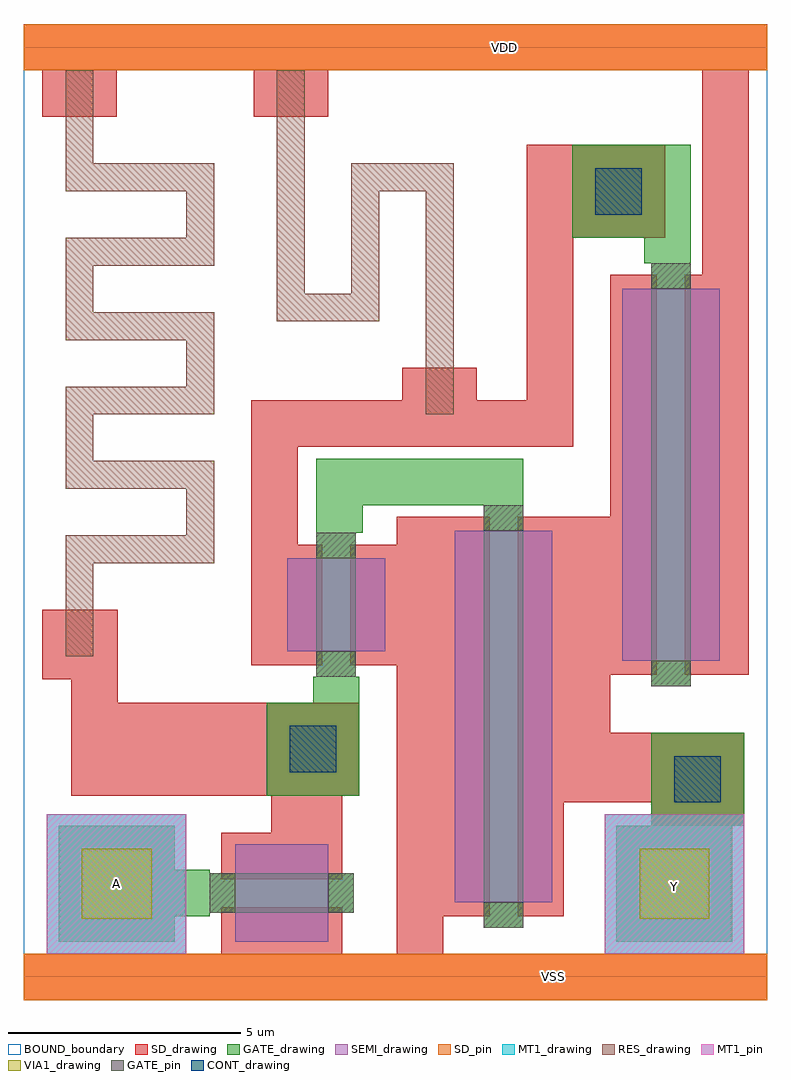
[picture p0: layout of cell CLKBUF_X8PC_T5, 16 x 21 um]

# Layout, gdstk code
from math import pi, radians
import gdstk
lib = gdstk.Library(unit=1e-6, precision=1e-09)
def R(c, l, rs):  # rectangles x0, y0, x1, y1
    for r in rs: c.add(gdstk.rectangle(r[:2], r[2:], *l))
def A(c, l, x, y, w, h, nx, ny, dx, dy):  # array of equal rectangles
    R(c, l, [(x+i*dx, y+j*dy, x+i*dx+w, y+j*dy+h) for i in range(nx) for j in range(ny)])
RES_drawing = (1, 0)
SEMI_drawing = (3, 0)
SD_drawing = (10, 0)
SD_pin = (10, 3)
GATE_drawing = (11, 0)
GATE_pin = (11, 3)
MT1_drawing = (20, 0)
MT1_pin = (20, 3)
CONT_drawing = (30, 0)
VIA1_drawing = (41, 0)
BOUND_boundary = (150, 5)

nch_cdns_772544872960 = lib.new_cell('nch_CDNS_772544872960')
R(nch_cdns_772544872960, SEMI_drawing, [(-1.05,-4,1.05,4)])
R(nch_cdns_772544872960, SD_drawing, [(-1.3,-4.3,-0.3,4.3), (0.3,-4.3,1.3,4.3)])
R(nch_cdns_772544872960, GATE_drawing, [(-0.425,-4.55,0.425,4.55)])
R(nch_cdns_772544872960, GATE_pin, [(-0.425,-4.55,0.425,-4), (-0.425,4,0.425,4.55)])

nch_cdns_772544872961 = lib.new_cell('nch_CDNS_772544872961')
R(nch_cdns_772544872961, SEMI_drawing, [(-1.05,-4,1.05,4)])
R(nch_cdns_772544872961, SD_drawing, [(-1.3,-4.3,-0.3,4.3), (0.3,-4.3,1.3,4.3)])
R(nch_cdns_772544872961, GATE_drawing, [(-0.425,-4.55,0.425,4.55)])
R(nch_cdns_772544872961, GATE_pin, [(-0.425,-4.55,0.425,-4), (-0.425,4,0.425,4.55)])

nch_cdns_772544872962 = lib.new_cell('nch_CDNS_772544872962')
R(nch_cdns_772544872962, SEMI_drawing, [(-1.05,-1,1.05,1)])
R(nch_cdns_772544872962, SD_drawing, [(-1.3,-1.3,-0.3,1.3), (0.3,-1.3,1.3,1.3)])
R(nch_cdns_772544872962, GATE_drawing, [(-0.425,-1.55,0.425,1.55)])
R(nch_cdns_772544872962, GATE_pin, [(-0.425,-1.55,0.425,-1), (-0.425,1,0.425,1.55)])

nch_cdns_772544872963 = lib.new_cell('nch_CDNS_772544872963')
R(nch_cdns_772544872963, SEMI_drawing, [(-1.05,-1,1.05,1)])
R(nch_cdns_772544872963, SD_drawing, [(-1.3,-1.3,-0.3,1.3), (0.3,-1.3,1.3,1.3)])
R(nch_cdns_772544872963, GATE_drawing, [(-0.425,-1.55,0.425,1.55)])
R(nch_cdns_772544872963, GATE_pin, [(-0.425,-1.55,0.425,-1), (-0.425,1,0.425,1.55)])

res_cdns_772544872964 = lib.new_cell('res_CDNS_772544872964')
A(res_cdns_772544872964, RES_drawing, -2.9, -4.3, 3.2, 0.6, 1, 6, 0, 1.6)
A(res_cdns_772544872964, RES_drawing, -2.9, -3.7, 0.6, 1, 1, 3, 0, 3.2)
R(res_cdns_772544872964, RES_drawing, [(-0.3,-6.3,0.3,-4.3), (-0.3,-2.1,0.3,-1.1), (-0.3,1.1,0.3,2.1), (-0.3,4.3,0.3,6.3)])
R(res_cdns_772544872964, SD_drawing, [(-0.8,-6.8,0.8,-5.3), (-0.8,5.3,0.8,6.8)])

res_cdns_772544872965 = lib.new_cell('res_CDNS_772544872965')
A(res_cdns_772544872965, RES_drawing, -1.9, -1.7, 0.6, 3.4, 3, 1, 1.6, 0)
R(res_cdns_772544872965, RES_drawing, [(1.3,-3.7,1.9,-1.7), (-1.3,-1.7,-0.3,-1.1), (0.3,1.1,1.3,1.7), (-1.9,1.7,-1.3,3.7)])
R(res_cdns_772544872965, SD_drawing, [(0.8,-4.2,2.4,-2.7), (-2.4,2.7,-0.8,4.2)])

gate_mt1_cdns_7725448729 = lib.new_cell('GATE_MT1_CDNS_772544872960')
R(gate_mt1_cdns_7725448729, GATE_drawing, [(-1.25,-1.25,1.25,1.25)])
R(gate_mt1_cdns_7725448729, MT1_drawing, [(-1.25,-1.25,1.25,1.25)])
R(gate_mt1_cdns_7725448729, VIA1_drawing, [(-0.75,-0.75,0.75,0.75)])

sd_gate_cdns_77254487296 = lib.new_cell('SD_GATE_CDNS_772544872961')
R(sd_gate_cdns_77254487296, SD_drawing, [(-1,-1,1,1)])
R(sd_gate_cdns_77254487296, GATE_drawing, [(-1,-1,1,1)])
R(sd_gate_cdns_77254487296, CONT_drawing, [(-0.5,-0.5,0.5,0.5)])

clkbuf_x8pc_t5 = lib.new_cell('CLKBUF_X8PC_T5')
R(clkbuf_x8pc_t5, SD_pin, [(0,-0.5,16,0.5), (0,19.5,16,20.5)])
R(clkbuf_x8pc_t5, MT1_drawing, [(0.5,0.5,3.5,3.5), (12.5,0.5,15.5,3.5)])
R(clkbuf_x8pc_t5, MT1_pin, [(0.5,0.5,3.5,3.5), (12.5,0.5,15.5,3.5)])
R(clkbuf_x8pc_t5, BOUND_boundary, [(0,0,16,20)])
clkbuf_x8pc_t5.add(gdstk.FlexPath([(14.1,2.55),(14.1,5)], 1, ends="flush", simple_path=True, layer=11, datatype=0))  # GATE_drawing
clkbuf_x8pc_t5.add(gdstk.FlexPath([(4,1.8),(3.275,1.8)], 1, ends=(0, 0.5), simple_path=True, layer=11, datatype=0))  # GATE_drawing
clkbuf_x8pc_t5.add(gdstk.FlexPath([(6.8,9.55),(6.8,10.65)], 1, ends=(0, 0.5), simple_path=True, layer=11, datatype=0))  # GATE_drawing
clkbuf_x8pc_t5.add(gdstk.FlexPath([(14.75,2.55),(14.75,5)], 1, ends="flush", simple_path=True, layer=11, datatype=0))  # GATE_drawing
clkbuf_x8pc_t5.add(gdstk.FlexPath([(13.85,17.9),(13.85,15.85)], 1, ends=(0, 0.5), simple_path=True, layer=11, datatype=0))  # GATE_drawing
clkbuf_x8pc_t5.add(gdstk.FlexPath([(6.8,10.65),(10.75,10.65)], 1, ends=(0.5, 0), simple_path=True, layer=11, datatype=0))  # GATE_drawing
clkbuf_x8pc_t5.add(gdstk.FlexPath([(6.725,5.225),(6.725,5.95)], 1, ends=(0, 0.5), simple_path=True, layer=11, datatype=0))  # GATE_drawing
clkbuf_x8pc_t5.add(gdstk.FlexPath([(15.1,20),(15.1,20.5)], 1, ends=(0.5, 0), simple_path=True, layer=10, datatype=0))  # SD_drawing
clkbuf_x8pc_t5.add(gdstk.FlexPath([(6.325,5.4),(1.525,5.4)], 1, ends="extended", simple_path=True, layer=10, datatype=0))  # SD_drawing
clkbuf_x8pc_t5.add(gdstk.FlexPath([(11.325,11.9),(11.825,11.9)], 1, ends=(0.5, 0), simple_path=True, layer=10, datatype=0))  # SD_drawing
clkbuf_x8pc_t5.add(gdstk.FlexPath([(15.1,20),(16,20)], 1, ends=(0.5, 0), simple_path=True, layer=10, datatype=0))  # SD_drawing
clkbuf_x8pc_t5.add(gdstk.FlexPath([(6.35,3.1),(6.35,3.825)], 1, ends=(0, 0.5), simple_path=True, layer=10, datatype=0))  # SD_drawing
clkbuf_x8pc_t5.add(gdstk.FlexPath([(5.4,11.9),(11.325,11.9)], 1, ends="extended", simple_path=True, layer=10, datatype=0))  # SD_drawing
clkbuf_x8pc_t5.add(gdstk.FlexPath([(5.4,6.7),(5.4,11.9)], 1, ends=(0, 0.5), simple_path=True, layer=10, datatype=0))  # SD_drawing
clkbuf_x8pc_t5.add(gdstk.FlexPath([(12.125,4.25),(14.5,4.25)], 1, ends=(0.5, 0), simple_path=True, layer=10, datatype=0))  # SD_drawing
clkbuf_x8pc_t5.add(gdstk.FlexPath([(11.325,17.4),(11.325,11.9)], 1, ends="extended", simple_path=True, layer=10, datatype=0))  # SD_drawing
clkbuf_x8pc_t5.add(gdstk.FlexPath([(12.125,9.9),(12.125,4.75)], 1, ends=(0, 0.5), simple_path=True, layer=10, datatype=0))  # SD_drawing
clkbuf_x8pc_t5.add(gdstk.FlexPath([(8.525,0),(16,0)], 1, ends=(0.5, 0), simple_path=True, layer=10, datatype=0))  # SD_drawing
clkbuf_x8pc_t5.add(gdstk.FlexPath([(12.125,4.75),(14.5,4.75)], 1, ends=(0.5, 0), simple_path=True, layer=10, datatype=0))  # SD_drawing
clkbuf_x8pc_t5.add(gdstk.FlexPath([(5.825,3.1),(5.825,3.825)], 1, ends=(0, 0.5), simple_path=True, layer=10, datatype=0))  # SD_drawing
clkbuf_x8pc_t5.add(gdstk.FlexPath([(15.1,6.5),(15.1,20)], 1, ends=(0, 0.5), simple_path=True, layer=10, datatype=0))  # SD_drawing
clkbuf_x8pc_t5.add(gdstk.FlexPath([(0,0),(8.525,0)], 1, ends=(0, 0.5), simple_path=True, layer=10, datatype=0))  # SD_drawing
clkbuf_x8pc_t5.add(gdstk.FlexPath([(6.325,4.9),(6.325,5.4)], 1, ends=(0, 0.5), simple_path=True, layer=10, datatype=0))  # SD_drawing
clkbuf_x8pc_t5.add(gdstk.FlexPath([(12.125,4.75),(12.125,4.25)], 1, ends="extended", simple_path=True, layer=10, datatype=0))  # SD_drawing
clkbuf_x8pc_t5.add(gdstk.FlexPath([(1.525,5.4),(1.525,7.4)], 1, ends="extended", simple_path=True, layer=10, datatype=0))  # SD_drawing
clkbuf_x8pc_t5.add(gdstk.FlexPath([(11.325,11.9),(11.325,11.4)], 1, ends=(0.5, 0), simple_path=True, layer=10, datatype=0))  # SD_drawing
clkbuf_x8pc_t5.add(gdstk.FlexPath([(6.325,4.4),(1.525,4.4)], 1, ends="extended", simple_path=True, layer=10, datatype=0))  # SD_drawing
clkbuf_x8pc_t5.add(gdstk.FlexPath([(0,20),(15.1,20)], 1, ends=(0, 0.5), simple_path=True, layer=10, datatype=0))  # SD_drawing
clkbuf_x8pc_t5.add(gdstk.FlexPath([(8.525,9.9),(8.525,0)], 1, ends=(0, 0.5), simple_path=True, layer=10, datatype=0))  # SD_drawing
clkbuf_x8pc_t5.add(gdstk.Reference(nch_cdns_772544872960, (10.325,5.6), rotation=pi))
clkbuf_x8pc_t5.add(gdstk.Reference(nch_cdns_772544872961, (13.925,10.8)))
clkbuf_x8pc_t5.add(gdstk.Reference(nch_cdns_772544872962, (6.725,8), x_reflection=True))
clkbuf_x8pc_t5.add(gdstk.Reference(nch_cdns_772544872963, (5.55,1.8), rotation=pi/2, x_reflection=True))
clkbuf_x8pc_t5.add(gdstk.Reference(res_cdns_772544872964, (1.2,13.2), rotation=pi, x_reflection=True))
clkbuf_x8pc_t5.add(gdstk.Reference(res_cdns_772544872965, (7.35,15.8)))
clkbuf_x8pc_t5.add(gdstk.Reference(gate_mt1_cdns_7725448729, (14,2)))
clkbuf_x8pc_t5.add(gdstk.Reference(gate_mt1_cdns_7725448729, (2,2)))
clkbuf_x8pc_t5.add(gdstk.Reference(sd_gate_cdns_77254487296, (6.225,4.9)))
clkbuf_x8pc_t5.add(gdstk.Reference(sd_gate_cdns_77254487296, (12.8,16.9)))
clkbuf_x8pc_t5.add(gdstk.Reference(sd_gate_cdns_77254487296, (14.5,4.25)))
clkbuf_x8pc_t5.add(gdstk.Label('A', (2,2), layer=20, texttype=3))
clkbuf_x8pc_t5.add(gdstk.Label('Y', (14,1.95), layer=20, texttype=3))
clkbuf_x8pc_t5.add(gdstk.Label('VSS', (11.4,0), layer=10, texttype=3))
clkbuf_x8pc_t5.add(gdstk.Label('VDD', (10.35,20), layer=10, texttype=3))

lib.write_gds('CLKBUF_X8PC_T5.gds')
